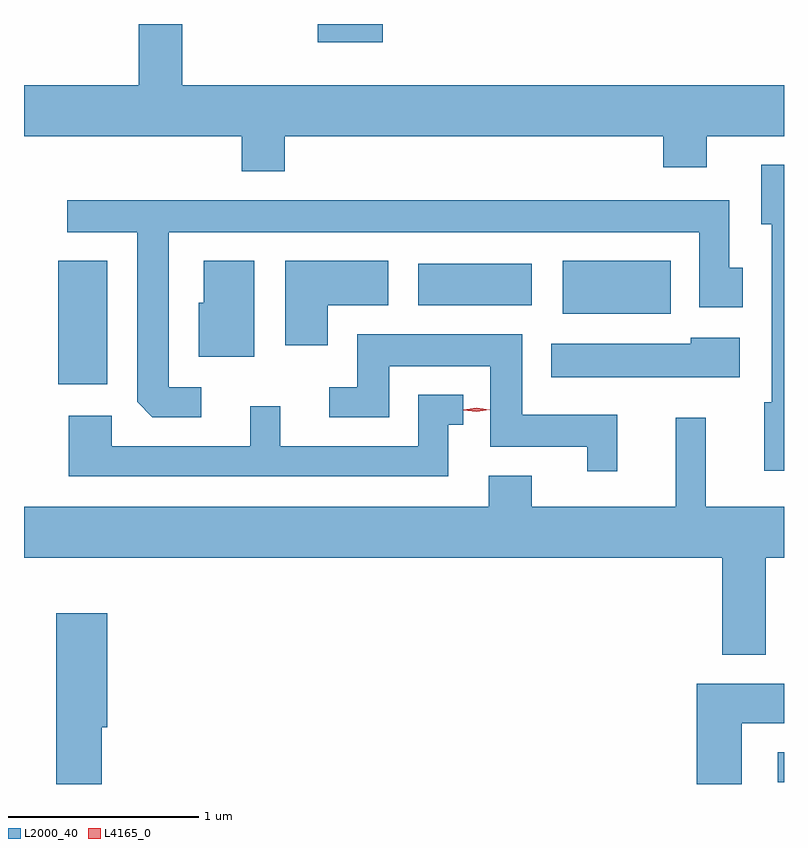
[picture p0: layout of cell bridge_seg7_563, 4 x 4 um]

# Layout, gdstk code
import gdstk
lib = gdstk.Library(unit=1e-6, precision=1e-09)
def R(c, l, rs):  # rectangles x0, y0, x1, y1
    for r in rs: c.add(gdstk.rectangle(r[:2], r[2:], *l))
def P(c, l, *ps):  # polygons
    for p in ps: c.add(gdstk.Polygon(p, *l))
L2000_40 = (2000, 40)
L4165_0 = (4165, 0)

bridge_seg7_563 = lib.new_cell('bridge_seg7_563')
R(bridge_seg7_563, L2000_40, [(968.673,1757.536,968.706,1757.694), (964.886,1759.631,965.144,1760.279), (967.541,1760.001,968.109,1760.279), (966.781,1760.046,967.379,1760.264), (966.251,1761.431,966.594,1761.526)])
P(bridge_seg7_563, L2000_40, [(966.079,1760.936),(968.071,1760.936),(968.071,1760.771),(968.299,1760.771),(968.299,1760.936),(968.706,1760.936),(968.706,1761.204),(965.539,1761.204),(965.539,1761.526),(965.311,1761.526),(965.311,1761.204),(964.706,1761.204),(964.706,1760.936),(965.851,1760.936),(965.851,1760.751),(966.079,1760.751)],
  [(968.706,1760.784),(968.586,1760.784),(968.586,1760.471),(968.641,1760.471),(968.641,1759.534),(968.601,1759.534),(968.601,1759.176),(968.706,1759.176)],
  [(965.638,1759.614),(965.469,1759.614),(965.469,1760.431),(968.261,1760.431),(968.261,1760.036),(968.489,1760.036),(968.489,1760.244),(968.419,1760.244),(968.419,1760.599),(964.933,1760.599),(964.933,1760.431),(965.301,1760.431),(965.301,1759.537),(965.382,1759.456),(965.638,1759.456)],
  [(966.304,1760.046),(966.624,1760.046),(966.624,1760.279),(966.081,1760.279),(966.081,1759.836),(966.304,1759.836)],
  [(965.919,1760.279),(965.651,1760.279),(965.651,1760.059),(965.626,1760.059),(965.626,1759.776),(965.919,1759.776)],
  [(967.829,1759.469),(967.329,1759.469),(967.329,1759.894),(966.461,1759.894),(966.461,1759.614),(966.313,1759.614),(966.313,1759.456),(966.629,1759.456),(966.629,1759.726),(967.161,1759.726),(967.161,1759.301),(967.671,1759.301),(967.671,1759.173),(967.829,1759.173)],
  [(968.474,1759.874),(968.216,1759.874),(968.216,1759.844),(967.481,1759.844),(967.481,1759.666),(968.474,1759.666)],
  [(966.939,1759.416),(967.018,1759.416),(967.018,1759.574),(966.781,1759.574),(966.781,1759.304),(966.054,1759.304),(966.054,1759.513),(965.896,1759.513),(965.896,1759.304),(965.169,1759.304),(965.169,1759.464),(964.941,1759.464),(964.941,1759.146),(966.939,1759.146)],
  [(968.609,1758.716),(968.706,1758.716),(968.706,1758.984),(968.294,1758.984),(968.294,1759.453),(968.136,1759.453),(968.136,1758.984),(967.379,1758.984),(967.379,1759.149),(967.151,1759.149),(967.151,1758.984),(964.706,1758.984),(964.706,1758.716),(968.381,1758.716),(968.381,1758.206),(968.609,1758.206)],
  [(965.114,1757.826),(965.144,1757.826),(965.144,1758.424),(964.876,1758.424),(964.876,1757.526),(965.114,1757.526)],
  [(968.484,1757.846),(968.706,1757.846),(968.706,1758.054),(968.246,1758.054),(968.246,1757.526),(968.484,1757.526)])
P(bridge_seg7_563, L4165_0, [(967.088,1759.485),(967.019,1759.494),(967.019,1759.495),(967.019,1759.495),(967.088,1759.505),(967.158,1759.496),(967.158,1759.496),(967.158,1759.495)])

lib.write_gds('bridge_seg7_563.gds')
